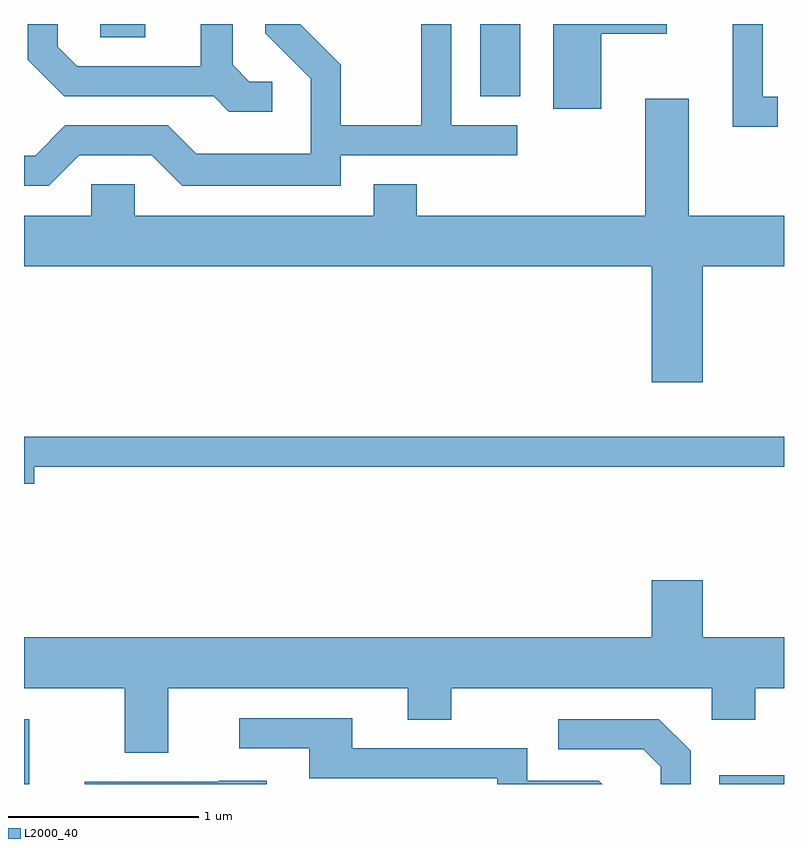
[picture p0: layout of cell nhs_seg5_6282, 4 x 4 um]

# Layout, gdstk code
import gdstk
lib = gdstk.Library(unit=1e-6, precision=1e-09)
def R(c, l, rs):  # rectangles x0, y0, x1, y1
    for r in rs: c.add(gdstk.rectangle(r[:2], r[2:], *l))
def P(c, l, *ps):  # polygons
    for p in ps: c.add(gdstk.Polygon(p, *l))
L2000_40 = (2000, 40)

nhs_seg5_6282 = lib.new_cell('nhs_seg5_6282')
R(nhs_seg5_6282, L2000_40, [(371.611,1454.072,371.639,1454.414), (375.271,1454.072,375.611,1454.119), (374.011,1457.691,374.224,1458.072), (372.011,1458.001,372.249,1458.072)])
P(nhs_seg5_6282, L2000_40, [(371.902,1457.381),(372.284,1457.381),(372.444,1457.221),(373.279,1457.221),(373.279,1457.381),(374.208,1457.381),(374.208,1457.539),(373.859,1457.539),(373.859,1458.072),(373.701,1458.072),(373.701,1457.539),(373.279,1457.539),(373.279,1457.857),(373.064,1458.072),(372.881,1458.072),(372.881,1458.024),(373.121,1457.784),(373.121,1457.389),(372.517,1457.389),(372.367,1457.539),(371.829,1457.539),(371.669,1457.379),(371.611,1457.379),(371.611,1457.221),(371.742,1457.221)],
  [(372.918,1457.769),(372.797,1457.769),(372.709,1457.857),(372.709,1458.072),(372.541,1458.072),(372.541,1457.849),(371.892,1457.849),(371.789,1457.952),(371.789,1458.072),(371.631,1458.072),(371.631,1457.884),(371.824,1457.691),(372.609,1457.691),(372.689,1457.611),(372.918,1457.611)],
  [(374.649,1458.021),(374.994,1458.021),(374.994,1458.072),(374.396,1458.072),(374.396,1457.626),(374.649,1457.626)],
  [(375.578,1457.689),(375.499,1457.689),(375.499,1458.072),(375.341,1458.072),(375.341,1457.531),(375.578,1457.531)],
  [(375.184,1456.796),(375.611,1456.796),(375.611,1457.064),(375.109,1457.064),(375.109,1457.679),(374.881,1457.679),(374.881,1457.064),(373.679,1457.064),(373.679,1457.229),(373.451,1457.229),(373.451,1457.064),(372.194,1457.064),(372.194,1457.229),(371.966,1457.229),(371.966,1457.064),(371.611,1457.064),(371.611,1456.796),(374.916,1456.796),(374.916,1456.186),(375.184,1456.186)],
  [(371.664,1455.741),(375.611,1455.741),(375.611,1455.899),(371.611,1455.899),(371.611,1455.651),(371.664,1455.651)],
  [(372.369,1454.576),(373.631,1454.576),(373.631,1454.411),(373.859,1454.411),(373.859,1454.576),(375.231,1454.576),(375.231,1454.411),(375.459,1454.411),(375.459,1454.576),(375.611,1454.576),(375.611,1454.844),(375.184,1454.844),(375.184,1455.144),(374.916,1455.144),(374.916,1454.844),(371.611,1454.844),(371.611,1454.576),(372.141,1454.576),(372.141,1454.236),(372.369,1454.236)],
  [(374.637,1454.089),(374.259,1454.089),(374.259,1454.259),(373.339,1454.259),(373.339,1454.419),(372.743,1454.419),(372.743,1454.261),(373.111,1454.261),(373.111,1454.101),(374.101,1454.101),(374.101,1454.072),(374.654,1454.072)],
  [(375.119,1454.247),(374.952,1454.414),(374.423,1454.414),(374.423,1454.256),(374.869,1454.256),(374.961,1454.164),(374.961,1454.072),(375.119,1454.072)],
  [(372.889,1454.089),(372.635,1454.089),(372.635,1454.084),(371.931,1454.084),(371.931,1454.072),(372.889,1454.072)])

lib.write_gds('nhs_seg5_6282.gds')
